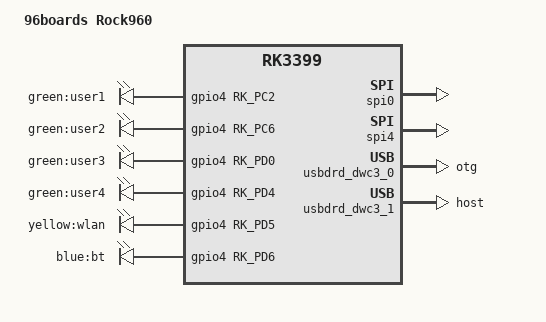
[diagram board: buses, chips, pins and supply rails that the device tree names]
// SPDX-License-Identifier: (GPL-2.0+ OR MIT)
/*
 * Copyright (c) 2018 Linaro Ltd.
 */

/dts-v1/;
#include "rk3399-rock960.dtsi"

/ {
	model = "96boards Rock960";
	compatible = "vamrs,rock960", "rockchip,rk3399";

	chosen {
		stdout-path = "serial2:1500000n8";
	};

	leds {
		compatible = "gpio-leds";
		pinctrl-names = "default";
		pinctrl-0 = <&user_led1_pin>, <&user_led2_pin>,
			    <&user_led3_pin>, <&user_led4_pin>,
			    <&wlan_led_pin>, <&bt_led_pin>;

		user_led1: led-1 {
			label = "green:user1";
			gpios = <&gpio4 RK_PC2 0>;
			linux,default-trigger = "heartbeat";
		};

		user_led2: led-2 {
			label = "green:user2";
			gpios = <&gpio4 RK_PC6 0>;
			linux,default-trigger = "mmc0";
		};

		user_led3: led-3 {
			label = "green:user3";
			gpios = <&gpio4 RK_PD0 0>;
			linux,default-trigger = "mmc1";
		};

		user_led4: led-4 {
			label = "green:user4";
			gpios = <&gpio4 RK_PD4 0>;
			panic-indicator;
			linux,default-trigger = "none";
		};

		wlan_active_led: led-5 {
			label = "yellow:wlan";
			gpios = <&gpio4 RK_PD5 0>;
			linux,default-trigger = "phy0tx";
			default-state = "off";
		};

		bt_active_led: led-6 {
			label = "blue:bt";
			gpios = <&gpio4 RK_PD6 0>;
			linux,default-trigger = "hci0-power";
			default-state = "off";
		};
	};

};

&cpu_alert0 {
	temperature = <65000>;
};

&cpu_thermal {
	sustainable-power = <1550>;

	cooling-maps {
		map0 {
			trip = <&cpu_alert1>;
		};
	};
};

&pcie0 {
	ep-gpios = <&gpio2 RK_PA2 GPIO_ACTIVE_HIGH>;
};

&pinctrl {
	leds {
		user_led1_pin: user-led1-pin {
			rockchip,pins =
				<4 RK_PC2 RK_FUNC_GPIO &pcfg_pull_none>;
		};

		user_led2_pin: user-led2-pin {
			rockchip,pins =
				<4 RK_PC6 RK_FUNC_GPIO &pcfg_pull_none>;
		};

		user_led3_pin: user-led3-pin {
			rockchip,pins =
				<4 RK_PD0 RK_FUNC_GPIO &pcfg_pull_none>;
		};

		user_led4_pin: user-led4-pin {
			rockchip,pins =
				<4 RK_PD4 RK_FUNC_GPIO &pcfg_pull_none>;
		};

		wlan_led_pin: wlan-led-pin {
			rockchip,pins =
				<4 RK_PD5 RK_FUNC_GPIO &pcfg_pull_none>;
		};

		bt_led_pin: bt-led-pin {
			rockchip,pins =
				<4 RK_PD6 RK_FUNC_GPIO &pcfg_pull_none>;
		};
	};

	pcie {
		pcie_drv: pcie-drv {
			rockchip,pins =
				<2 RK_PA5 RK_FUNC_GPIO &pcfg_pull_none>;
			};
	};

	usb2 {
		host_vbus_drv: host-vbus-drv {
			rockchip,pins =
				<4 RK_PD1 RK_FUNC_GPIO &pcfg_pull_none>;
		};
	};
};

&spi0 {
	/* On Low speed expansion (LS-SPI0) */
	status = "okay";
};

&spi4 {
	/* On High speed expansion (HS-SPI1) */
	status = "okay";
};

&usbdrd_dwc3_0 {
	dr_mode = "otg";
};

&usbdrd_dwc3_1 {
	dr_mode = "host";
};

&vcc3v3_pcie {
	gpio = <&gpio2 5 GPIO_ACTIVE_HIGH>;
};

&vcc5v0_host {
	gpio = <&gpio4 25 GPIO_ACTIVE_HIGH>;
};
